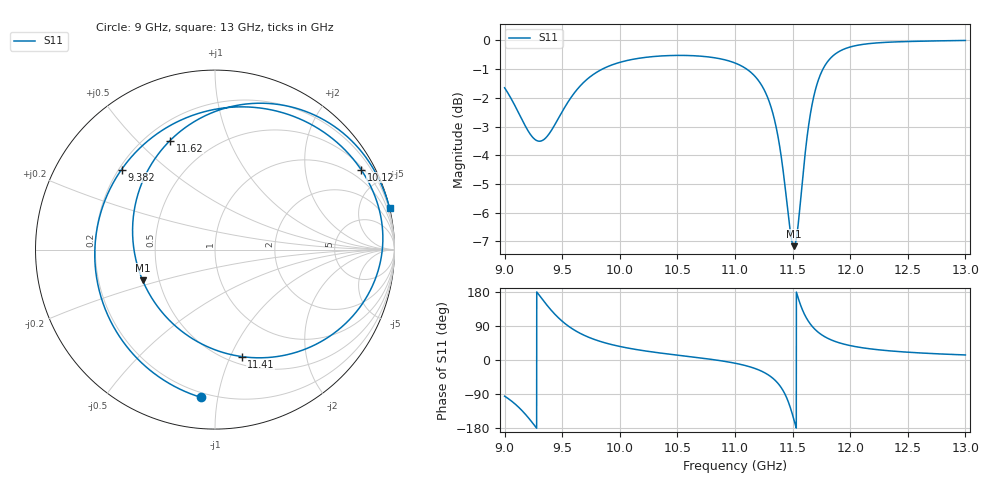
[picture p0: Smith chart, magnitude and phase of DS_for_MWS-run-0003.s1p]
! TOUCHSTONE file generated by CST DESIGN STUDIO
! Date and time: Tue Feb  4 18:09:20 2025
! Project name: C:\Work\MatlabApps\UnitCellOptimizationMatlab\CST\unitcell.cst
! Tree item: Tasks\Sweep1\SPara1\S-Parameters
! Header version: 2024
! Port assignment regex: !\s*Touchstone port\s*([0-9]+)\s*=\s*(CST MWS port|CST DES external port|CST DES block port)\s*(.+)\s* \(\"(.*)\"\)(\s*mode\s*([0-9]+))?.*
! Touchstone port assignment:
! Touchstone port 1 = CST DES external port 1 ("")
# GHz S MA R 50
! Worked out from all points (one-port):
!   4001 points, 9 GHz to 13 GHz, reference 50 ohm
!   lowest |S11| = -7.2 dB at 11.51 GHz (marker M1), VSWR 2.56, Z = 20.2 - j8.57 ohm
!   |S11| at or under -10 dB: nowhere
!   S11 on the Smith chart (normalised r, x): 9 GHz: 0.17, -0.90; 9.382 GHz: 0.21, +0.36; 10.12 GHz: 0.60, +3.82; 11.41 GHz: 0.58, -1.10; 11.62 GHz: 0.29, +0.63; 13 GHz: -0.00, +8.59
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9  0.8271 -95.4
9.114  0.7531 -122.4
9.227  0.6847 -160.0
9.302  0.6676 170.4
9.382  0.6858 139.4
9.5  0.7517 102.3
9.597  0.8061 80.5
9.727  0.8595 60.3
9.852  0.8923 47.0
10  0.9159 35.8
10.122  0.9279 28.7
10.5  0.9418 12.8
11  0.9136 -8.5
11.146  0.877 -19.6
11.252  0.8213 -32.7
11.335  0.7383 -49.9
11.408  0.6139 -76.1
11.455  0.5115 -104.4
11.5  0.4419 -145.2
11.511  0.4382 -157.0
11.56  0.5036 152.8
11.617  0.6569 112.4
11.686  0.8023 83.4
11.785  0.9072 60.4
11.879  0.9499 47.9
12  0.9742 38.0
12.5  0.9958 20.6
13  1 13.3
